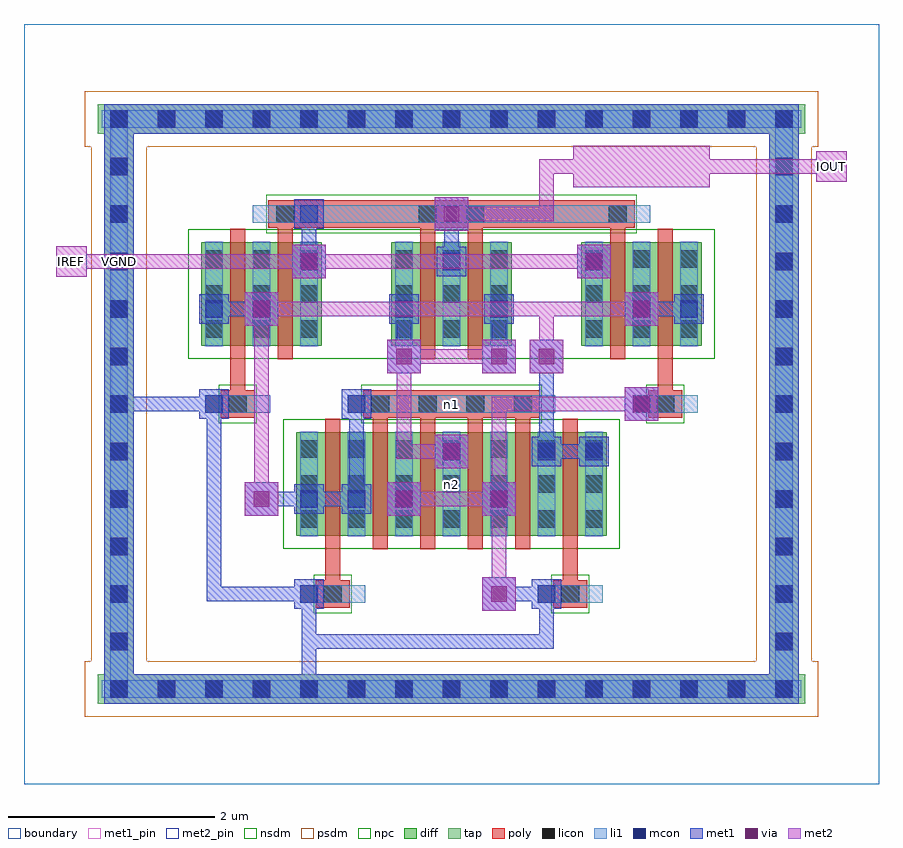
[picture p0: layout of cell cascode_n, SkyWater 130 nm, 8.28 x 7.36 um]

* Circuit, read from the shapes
.subckt cascode_n IOUT IREF VGND n1 n2
XM1 n1 VGND n1 VGND sky130_fd_pr__nfet_01v8 w=1 l=0.15 m=4
XM2 IREF IREF n1 VGND sky130_fd_pr__nfet_01v8 w=1 l=0.15 m=2
XM3 VGND n1 n1 VGND sky130_fd_pr__nfet_01v8 w=1 l=0.15 m=2
XM4 n2 n1 VGND VGND sky130_fd_pr__nfet_01v8 w=1 l=0.15 m=2
XM5 IOUT IREF n2 VGND sky130_fd_pr__nfet_01v8 w=1 l=0.15 m=2
.ends

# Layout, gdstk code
import gdstk
lib = gdstk.Library(unit=1e-6, precision=1e-09)
def R(c, l, rs):  # rectangles x0, y0, x1, y1
    for r in rs: c.add(gdstk.rectangle(r[:2], r[2:], *l))
def A(c, l, x, y, w, h, nx, ny, dx, dy):  # array of equal rectangles
    R(c, l, [(x+i*dx, y+j*dy, x+i*dx+w, y+j*dy+h) for i in range(nx) for j in range(ny)])
diff = (65, 20)
tap = (65, 44)
poly = (66, 20)
licon = (66, 44)
li1 = (67, 20)
mcon = (67, 44)
met1_pin = (68, 16)
met1 = (68, 20)
via = (68, 44)
met2_pin = (69, 16)
met2 = (69, 20)
nsdm = (93, 44)
psdm = (94, 20)
npc = (95, 20)
boundary = (235, 4)

cascode_n = lib.new_cell('cascode_n')
A(cascode_n, diff, 1.715, 4.245, 1.17, 1, 3, 1, 1.84, 0)
R(cascode_n, diff, [(2.635,2.405,5.645,3.405)])
R(cascode_n, tap, [(0.715,0.775,7.565,1.065), (0.775,0.775,1.065,6.585), (7.215,0.775,7.505,6.585), (0.715,6.295,7.565,6.585)])
A(cascode_n, poly, 3.375, 2.275, 0.15, 1.405, 4, 1, 0.46, 0)
R(cascode_n, poly, [(2.825,1.705,3.155,1.975), (5.125,1.705,5.455,1.975), (2.915,1.84,3.065,3.535), (5.215,1.84,5.365,3.535), (1.905,3.545,2.235,3.815), (3.285,3.545,4.995,3.815), (6.045,3.545,6.375,3.815), (1.995,3.68,2.145,5.375), (6.135,3.68,6.285,5.375), (2.455,4.115,2.605,5.52), (3.835,4.115,3.985,5.52), (4.295,4.115,4.445,5.52), (5.675,4.115,5.825,5.52), (2.365,5.385,5.915,5.655)])
A(cascode_n, licon, 0.835, 0.835, 0.17, 0.17, 15, 2, 0.46, 5.52)
A(cascode_n, licon, 0.835, 1.295, 0.17, 0.17, 1, 11, 0, 0.46)
A(cascode_n, licon, 7.275, 1.295, 0.17, 0.17, 1, 11, 0, 0.46)
A(cascode_n, licon, 2.675, 2.48, 0.17, 0.17, 7, 3, 0.46, 0.34)
A(cascode_n, licon, 3.365, 3.595, 0.17, 0.17, 4, 1, 0.46, 0)
A(cascode_n, licon, 1.755, 4.32, 0.17, 0.17, 3, 3, 0.46, 0.34)
A(cascode_n, licon, 3.595, 4.32, 0.17, 0.17, 3, 3, 0.46, 0.34)
A(cascode_n, licon, 5.435, 4.32, 0.17, 0.17, 3, 3, 0.46, 0.34)
R(cascode_n, licon, [(2.905,1.755,3.075,1.925), (5.205,1.755,5.375,1.925), (1.985,3.595,2.155,3.765), (6.125,3.595,6.295,3.765), (2.445,5.435,2.615,5.605), (3.825,5.435,3.995,5.605), (4.285,5.435,4.455,5.605), (5.665,5.435,5.835,5.605)])
A(cascode_n, li1, 2.675, 2.4, 0.17, 1.01, 7, 1, 0.46, 0)
A(cascode_n, li1, 1.755, 4.24, 0.17, 1.01, 3, 1, 0.46, 0)
A(cascode_n, li1, 3.595, 4.24, 0.17, 1.01, 3, 1, 0.46, 0)
A(cascode_n, li1, 5.435, 4.24, 0.17, 1.01, 3, 1, 0.46, 0)
R(cascode_n, li1, [(0.755,0.835,7.525,1.005), (0.835,0.835,1.005,6.525), (7.275,0.835,7.445,6.525), (2.675,1.755,3.305,1.925), (4.975,1.755,5.605,1.925), (1.755,3.595,2.385,3.765), (3.135,3.595,5.145,3.765), (5.895,3.595,6.525,3.765), (2.215,5.435,6.065,5.605), (0.755,6.355,7.525,6.525)])
A(cascode_n, mcon, 0.835, 0.835, 0.17, 0.17, 15, 2, 0.46, 5.52)
A(cascode_n, mcon, 0.835, 1.295, 0.17, 0.17, 1, 11, 0, 0.46)
A(cascode_n, mcon, 2.675, 1.755, 0.17, 0.17, 3, 1, 2.3, 0)
A(cascode_n, mcon, 7.275, 2.215, 0.17, 0.17, 1, 9, 0, 0.46)
A(cascode_n, mcon, 2.675, 2.675, 0.17, 0.17, 3, 1, 0.46, 0)
A(cascode_n, mcon, 2.675, 4.975, 0.17, 0.17, 3, 1, 1.38, 0)
R(cascode_n, mcon, [(7.275,1.295,7.445,1.465), (4.515,2.675,4.685,2.845), (4.055,3.135,4.225,3.305), (4.975,3.135,5.145,3.305), (5.435,3.135,5.605,3.305), (1.755,3.595,1.925,3.765), (3.135,3.595,3.305,3.765), (5.895,3.595,6.065,3.765), (1.755,4.515,1.925,4.685), (2.215,4.515,2.385,4.685), (3.595,4.515,3.765,4.685), (4.515,4.515,4.685,4.685), (5.895,4.515,6.065,4.685), (6.355,4.515,6.525,4.685), (2.675,5.435,2.845,5.605)])
R(cascode_n, met1_pin, [(0.85,3.61,0.99,6.51)])
A(cascode_n, met1, 2.615, 2.615, 0.29, 0.29, 3, 1, 0.46, 0)
A(cascode_n, met1, 2.615, 4.915, 0.29, 0.29, 3, 1, 1.38, 0)
R(cascode_n, met1, [(0.775,0.775,7.505,1.065), (0.775,0.775,1.065,6.585), (7.215,0.775,7.505,6.585), (2.69,0.85,2.83,0.99), (2.69,0.85,2.83,1.91), (2.69,1.31,5.13,1.45), (4.99,1.31,5.13,1.91), (4.44,1.68,4.76,2), (2.615,1.695,2.905,1.985), (4.915,1.695,5.205,1.985), (1.77,1.77,2.83,1.91), (1.77,1.77,1.91,3.75), (4.53,1.77,5.13,1.91), (2.14,2.6,2.46,2.92), (3.52,2.6,3.84,2.92), (4.44,2.6,4.76,2.92), (4.455,2.615,4.745,2.905), (2.23,2.69,2.83,2.83), (2.69,2.69,3.29,2.83), (3.15,2.69,3.29,3.75), (3.98,3.06,4.3,3.38), (3.995,3.075,4.285,3.365), (4.915,3.075,5.205,3.365), (5.375,3.075,5.665,3.365), (4.99,3.15,5.13,4.21), (4.99,3.15,5.59,3.29), (5.82,3.52,6.14,3.84), (1.695,3.535,1.985,3.825), (3.075,3.535,3.365,3.825), (5.835,3.535,6.125,3.825), (0.85,3.61,1.91,3.75), (0.85,3.61,0.99,6.51), (3.52,3.98,3.84,4.3), (4.44,3.98,4.76,4.3), (4.9,3.98,5.22,4.3), (3.61,4.07,3.75,4.67), (4.53,4.07,4.67,4.67), (2.14,4.44,2.46,4.76), (5.82,4.44,6.14,4.76), (1.695,4.455,1.985,4.745), (2.155,4.455,2.445,4.745), (3.535,4.455,3.825,4.745), (4.455,4.455,4.745,4.745), (5.835,4.455,6.125,4.745), (6.295,4.455,6.585,4.745), (1.77,4.53,2.37,4.67), (5.91,4.53,6.51,4.67), (2.6,4.9,2.92,5.22), (5.36,4.9,5.68,5.22), (2.69,4.99,2.83,5.59), (4.07,4.99,4.21,5.59), (3.98,5.36,4.3,5.68), (2.615,5.375,2.905,5.665), (0.775,6.295,7.505,6.585), (0.85,6.37,0.99,6.51)])
R(cascode_n, via, [(4.525,1.765,4.675,1.915), (2.225,2.685,2.375,2.835), (3.605,2.685,3.755,2.835), (4.525,2.685,4.675,2.835), (4.065,3.145,4.215,3.295), (5.905,3.605,6.055,3.755), (3.605,4.065,3.755,4.215), (4.525,4.065,4.675,4.215), (4.985,4.065,5.135,4.215), (2.225,4.525,2.375,4.675), (5.905,4.525,6.055,4.675), (2.685,4.985,2.835,5.135), (5.445,4.985,5.595,5.135), (4.065,5.445,4.215,5.595)])
R(cascode_n, met2_pin, [(0.31,4.91,0.61,5.21), (7.67,5.83,7.97,6.13)])
R(cascode_n, met2, [(4.44,1.68,4.76,2), (4.53,1.77,4.67,2.83), (2.14,2.6,2.46,2.92), (3.52,2.6,3.84,2.92), (4.44,2.6,4.76,2.92), (2.23,2.69,2.37,4.67), (3.61,2.69,4.67,2.83), (4.53,2.69,4.67,3.75), (3.98,3.06,4.3,3.38), (3.61,3.15,3.75,4.21), (3.61,3.15,4.21,3.29), (5.82,3.52,6.14,3.84), (4.53,3.61,6.05,3.75), (3.52,3.98,3.84,4.3), (4.44,3.98,4.76,4.3), (4.9,3.98,5.22,4.3), (3.61,4.07,4.67,4.21), (4.99,4.07,5.13,4.67), (2.14,4.44,2.46,4.76), (5.82,4.44,6.14,4.76), (2.23,4.53,6.05,4.67), (2.6,4.9,2.92,5.22), (5.36,4.9,5.68,5.22), (0.31,4.91,0.61,5.21), (0.39,4.99,0.53,5.13), (0.39,4.99,2.83,5.13), (2.69,4.99,5.59,5.13), (3.98,5.36,4.3,5.68), (4.07,5.45,5.13,5.59), (4.99,5.45,5.13,6.05), (5.32,5.78,6.64,6.18), (7.67,5.83,7.97,6.13), (4.99,5.91,5.59,6.05), (6.37,5.91,7.89,6.05), (7.75,5.91,7.89,6.05)])
R(cascode_n, nsdm, [(2.51,2.28,5.77,3.53), (1.59,4.12,6.69,5.37)])
R(cascode_n, psdm, [(0.59,0.65,7.69,1.19), (0.65,1.19,1.19,6.17), (7.09,1.19,7.63,6.17), (0.59,6.17,7.69,6.71)])
R(cascode_n, npc, [(2.805,1.655,3.175,2.025), (5.105,1.655,5.475,2.025), (1.885,3.495,2.255,3.865), (3.265,3.495,5.015,3.865), (6.025,3.495,6.395,3.865), (2.345,5.335,5.935,5.705)])
R(cascode_n, boundary, [(0,0,8.28,7.36)])
cascode_n.add(gdstk.Label('n1', (4.14,3.68), layer=67, texttype=5))
cascode_n.add(gdstk.Label('n2', (4.14,2.905), layer=67, texttype=5))
cascode_n.add(gdstk.Label('VGND', (0.92,5.06), layer=68, texttype=5))
cascode_n.add(gdstk.Label('IREF', (0.46,5.06), layer=69, texttype=5))
cascode_n.add(gdstk.Label('IOUT', (7.82,5.98), layer=69, texttype=5))
cascode_n.add(gdstk.Label('VGND', (0.92,5.06), layer=68, texttype=16))
cascode_n.add(gdstk.Label('IREF', (0.46,5.06), layer=69, texttype=16))
cascode_n.add(gdstk.Label('IOUT', (7.82,5.98), layer=69, texttype=16))

lib.write_gds('cascode_n.gds')
